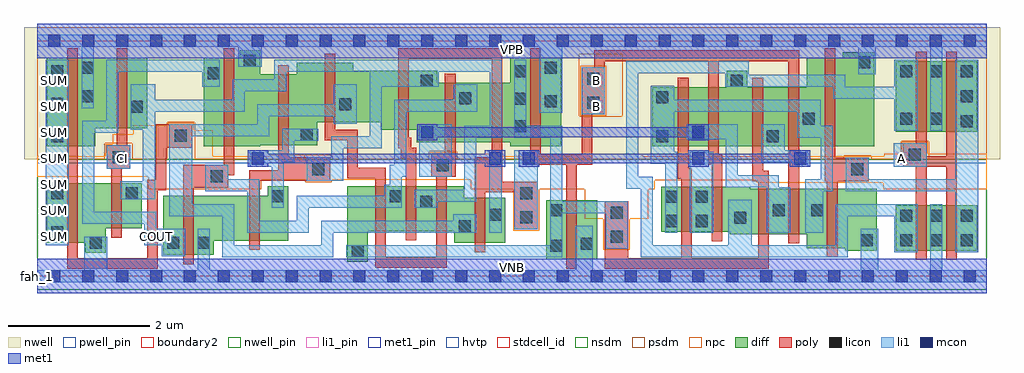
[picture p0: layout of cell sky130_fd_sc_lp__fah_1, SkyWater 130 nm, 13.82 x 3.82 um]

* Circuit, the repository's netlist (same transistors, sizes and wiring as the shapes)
* Copyright 2020 The SkyWater PDK Authors
*
* Licensed under the Apache License, Version 2.0 (the "License");
* you may not use this file except in compliance with the License.
* You may obtain a copy of the License at
*
*     https://www.apache.org/licenses/LICENSE-2.0
*
* Unless required by applicable law or agreed to in writing, software
* distributed under the License is distributed on an "AS IS" BASIS,
* WITHOUT WARRANTIES OR CONDITIONS OF ANY KIND, either express or implied.
* See the License for the specific language governing permissions and
* limitations under the License.
*
* SPDX-License-Identifier: Apache-2.0

.SUBCKT sky130_fd_sc_lp__fah_1 A B CI VGND VNB VPB VPWR COUT SUM
*.PININFO A:I B:I CI:I VGND:I VNB:I VPB:I VPWR:I COUT:O SUM:O
MMIN2 COUT net143 VGND VNB sky130_fd_pr__nfet_01v8 m=1 w=0.84U l=0.15U mult=1 sa=0.265
+ sb=0.265 sd=0.28 area=0.063 perim=1.14
MMIN3 SUM net87 VGND VNB sky130_fd_pr__nfet_01v8 m=1 w=0.84U l=0.15U mult=1 sa=0.265
+ sb=0.265 sd=0.28 area=0.063 perim=1.14
MI6 CIb mid2 net143 VNB sky130_fd_pr__nfet_01v8 m=1 w=0.64U l=0.15U mult=1 sa=0.265
+ sb=0.265 sd=0.28 area=0.063 perim=1.14
MI5 Bb mid1 net143 VNB sky130_fd_pr__nfet_01v8 m=1 w=0.64U l=0.15U mult=1 sa=0.265
+ sb=0.265 sd=0.28 area=0.063 perim=1.14
MI2 CIbb mid2 net87 VNB sky130_fd_pr__nfet_01v8 m=1 w=0.64U l=0.15U mult=1 sa=0.265
+ sb=0.265 sd=0.28 area=0.063 perim=1.14
MI649 CIb mid1 net87 VNB sky130_fd_pr__nfet_01v8 m=1 w=0.64U l=0.15U mult=1 sa=0.265
+ sb=0.265 sd=0.28 area=0.063 perim=1.14
MI17 Bb B VGND VNB sky130_fd_pr__nfet_01v8 m=1 w=0.84U l=0.15U mult=1 sa=0.265
+ sb=0.265 sd=0.28 area=0.063 perim=1.14
MI46 CIbb CIb VGND VNB sky130_fd_pr__nfet_01v8 m=1 w=0.64U l=0.15U mult=1 sa=0.265
+ sb=0.265 sd=0.28 area=0.063 perim=1.14
MI44 CIb CI VGND VNB sky130_fd_pr__nfet_01v8 m=1 w=0.64U l=0.15U mult=1 sa=0.265
+ sb=0.265 sd=0.28 area=0.063 perim=1.14
MI8 Ab2 A VGND VNB sky130_fd_pr__nfet_01v8 m=1 w=0.64U l=0.15U mult=1 sa=0.265
+ sb=0.265 sd=0.28 area=0.063 perim=1.14
MI9 Abb2 Ab2 VGND VNB sky130_fd_pr__nfet_01v8 m=1 w=0.84U l=0.15U mult=1 sa=0.265
+ sb=0.265 sd=0.28 area=0.063 perim=1.14
MI14 Ab1 A VGND VNB sky130_fd_pr__nfet_01v8 m=1 w=0.64U l=0.15U mult=1 sa=0.265
+ sb=0.265 sd=0.28 area=0.063 perim=1.14
MI20 Abb2 B mid1 VNB sky130_fd_pr__nfet_01v8 m=1 w=0.64U l=0.15U mult=1 sa=0.265
+ sb=0.265 sd=0.28 area=0.063 perim=1.14
MI21 Ab1 Bb mid1 VNB sky130_fd_pr__nfet_01v8 m=1 w=0.64U l=0.15U mult=1 sa=0.265
+ sb=0.265 sd=0.28 area=0.063 perim=1.14
MI24 Abb2 Bb mid2 VNB sky130_fd_pr__nfet_01v8 m=1 w=0.64U l=0.15U mult=1 sa=0.265
+ sb=0.265 sd=0.28 area=0.063 perim=1.14
MI25 Ab1 B mid2 VNB sky130_fd_pr__nfet_01v8 m=1 w=0.64U l=0.15U mult=1 sa=0.265
+ sb=0.265 sd=0.28 area=0.063 perim=1.14
MMIP2 COUT net143 VPWR VPB sky130_fd_pr__pfet_01v8_hvt m=1 w=1.26U l=0.15U mult=1
+ sa=0.265 sb=0.265 sd=0.28 area=0.063 perim=1.14
MMIP3 SUM net87 VPWR VPB sky130_fd_pr__pfet_01v8_hvt m=1 w=1.26U l=0.15U mult=1
+ sa=0.265 sb=0.265 sd=0.28 area=0.063 perim=1.14
MI4 CIb mid1 net143 VPB sky130_fd_pr__pfet_01v8_hvt m=1 w=0.84U l=0.15U mult=1
+ sa=0.265 sb=0.265 sd=0.28 area=0.063 perim=1.14
MI3 Bb mid2 net143 VPB sky130_fd_pr__pfet_01v8_hvt m=1 w=0.84U l=0.15U mult=1 sa=0.265
+ sb=0.265 sd=0.28 area=0.063 perim=1.14
MI1 CIbb mid1 net87 VPB sky130_fd_pr__pfet_01v8_hvt m=1 w=0.84U l=0.15U mult=1
+ sa=0.265 sb=0.265 sd=0.28 area=0.063 perim=1.14
MI650 CIb mid2 net87 VPB sky130_fd_pr__pfet_01v8_hvt m=1 w=0.84U l=0.15U mult=1
+ sa=0.265 sb=0.265 sd=0.28 area=0.063 perim=1.14
MI16 Bb B VPWR VPB sky130_fd_pr__pfet_01v8_hvt m=1 w=1.26U l=0.15U mult=1 sa=0.265
+ sb=0.265 sd=0.28 area=0.063 perim=1.14
MI47 CIbb CIb VPWR VPB sky130_fd_pr__pfet_01v8_hvt m=1 w=1.0U l=0.15U mult=1 sa=0.265
+ sb=0.265 sd=0.28 area=0.063 perim=1.14
MI45 CIb CI VPWR VPB sky130_fd_pr__pfet_01v8_hvt m=1 w=1.0U l=0.15U mult=1 sa=0.265
+ sb=0.265 sd=0.28 area=0.063 perim=1.14
MI12 Ab2 A VPWR VPB sky130_fd_pr__pfet_01v8_hvt m=1 w=1.0U l=0.15U mult=1 sa=0.265
+ sb=0.265 sd=0.28 area=0.063 perim=1.14
MI13 Abb2 Ab2 VPWR VPB sky130_fd_pr__pfet_01v8_hvt m=1 w=1.26U l=0.15U mult=1 sa=0.265
+ sb=0.265 sd=0.28 area=0.063 perim=1.14
MI19 Ab1 A VPWR VPB sky130_fd_pr__pfet_01v8_hvt m=1 w=1.0U l=0.15U mult=1 sa=0.265
+ sb=0.265 sd=0.28 area=0.063 perim=1.14
MI22 Abb2 Bb mid1 VPB sky130_fd_pr__pfet_01v8_hvt m=1 w=0.84U l=0.15U mult=1 sa=0.265
+ sb=0.265 sd=0.28 area=0.063 perim=1.14
MI23 Ab1 B mid1 VPB sky130_fd_pr__pfet_01v8_hvt m=1 w=0.84U l=0.15U mult=1 sa=0.265
+ sb=0.265 sd=0.28 area=0.063 perim=1.14
MI26 Abb2 B mid2 VPB sky130_fd_pr__pfet_01v8_hvt m=1 w=0.84U l=0.15U mult=1 sa=0.265
+ sb=0.265 sd=0.28 area=0.063 perim=1.14
MI27 Ab1 Bb mid2 VPB sky130_fd_pr__pfet_01v8_hvt m=1 w=0.84U l=0.15U mult=1 sa=0.265
+ sb=0.265 sd=0.28 area=0.063 perim=1.14
.ENDS sky130_fd_sc_lp__fah_1

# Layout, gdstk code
import gdstk
lib = gdstk.Library(unit=1e-6, precision=1e-09)
def R(c, l, rs):  # rectangles x0, y0, x1, y1
    for r in rs: c.add(gdstk.rectangle(r[:2], r[2:], *l))
def A(c, l, x, y, w, h, nx, ny, dx, dy):  # array of equal rectangles
    R(c, l, [(x+i*dx, y+j*dy, x+i*dx+w, y+j*dy+h) for i in range(nx) for j in range(ny)])
def P(c, l, *ps):  # polygons
    for p in ps: c.add(gdstk.Polygon(p, *l))
nwell_pin = (64, 16)
nwell = (64, 20)
diff = (65, 20)
poly = (66, 20)
licon = (66, 44)
li1_pin = (67, 16)
li1 = (67, 20)
mcon = (67, 44)
met1_pin = (68, 16)
met1 = (68, 20)
hvtp = (78, 44)
stdcell_id = (81, 4)
nsdm = (93, 44)
psdm = (94, 20)
npc = (95, 20)
pwell_pin = (122, 16)
boundary2 = (236, 0)

sky130_fd_sc_lp__fah_1 = lib.new_cell('sky130_fd_sc_lp__fah_1')
R(sky130_fd_sc_lp__fah_1, nwell_pin, [(0,3.085,13.44,3.33)])
R(sky130_fd_sc_lp__fah_1, nwell, [(-0.19,1.655,13.63,3.52)])
R(sky130_fd_sc_lp__fah_1, diff, [(7.205,0.235,7.925,1.075), (12.155,0.36,13.305,1), (12.155,2.045,13.305,3.045)])
P(sky130_fd_sc_lp__fah_1, diff, [(1.48,1.315),(0.135,1.315),(0.135,0.475),(0.68,0.475),(0.68,0.33),(0.97,0.33),(0.97,0.675),(1.48,0.675)],
  [(1.555,3.095),(0.135,3.095),(0.135,1.835),(0.82,1.835),(0.82,2.095),(1.555,2.095)],
  [(3.55,1.275),(3.26,1.275),(3.26,1.14),(1.78,1.14),(1.78,0.3),(2.5,0.3),(2.5,0.5),(3.55,0.5)],
  [(6.625,1.11),(6.045,1.11),(6.045,1.275),(4.39,1.275),(4.39,0.205),(4.675,0.205),(4.675,0.635),(5.905,0.635),(5.905,0.47),(6.625,0.47)],
  [(7.415,3.095),(6.695,3.095),(6.695,2.735),(5.66,2.735),(5.66,2.91),(4.47,2.91),(4.47,3.02),(3.67,3.02),(3.67,2.855),(3.155,2.855),(3.155,3.195),(2.865,3.195),(2.865,3.095),(2.355,3.095),(2.355,1.835),(3.155,1.835),(3.155,1.855),(3.96,1.855),(3.96,2.18),(4.86,2.18),(4.86,2.07),(5.37,2.07),(5.37,1.895),(6.695,1.895),(6.695,1.835),(7.415,1.835)],
  [(11.85,3.17),(11.405,3.17),(11.405,3.095),(10.895,3.095),(10.895,2.675),(10.05,2.675),(10.05,2.91),(9.76,2.91),(9.76,2.675),(8.705,2.675),(8.705,1.835),(11.85,1.835)],
  [(11.885,1.235),(10.095,1.235),(10.095,1.265),(8.83,1.265),(8.83,0.625),(9.805,0.625),(9.805,0.595),(10.895,0.595),(10.895,0.395),(11.44,0.395),(11.44,0.36),(11.885,0.36)])
P(sky130_fd_sc_lp__fah_1, poly, [(1.315,1.85),(1.27,1.85),(1.27,3.225),(1.12,3.225),(1.12,1.85),(0.985,1.85),(0.985,1.52),(1.045,1.52),(1.045,0.545),(1.195,0.545),(1.195,1.52),(1.315,1.52)],
  [(2.195,2.15),(1.675,2.15),(1.675,1.365),(1.555,1.365),(1.555,0.255),(0.57,0.255),(0.57,3.225),(0.42,3.225),(0.42,0.105),(1.705,0.105),(1.705,1.215),(1.825,1.215),(1.825,1.82),(2.195,1.82)],
  [(2.79,3.225),(2.64,3.225),(2.64,1.58),(2.065,1.58),(2.065,0.17),(2.215,0.17),(2.215,1.25),(2.705,1.25),(2.705,1.43),(2.79,1.43)],
  [(4.145,1.68),(3.56,1.68),(3.56,2.985),(3.41,2.985),(3.41,1.5),(3,1.5),(3,0.37),(3.15,0.37),(3.15,1.35),(4.145,1.35)],
  [(5.92,2.865),(5.77,2.865),(5.77,1.735),(5.575,1.735),(5.575,1.405),(5.645,1.405),(5.645,0.265),(4.935,0.265),(4.935,1.535),(4.535,1.535),(4.535,2.07),(4.22,2.07),(4.22,3.15),(4.07,3.15),(4.07,1.92),(4.385,1.92),(4.385,1.385),(4.785,1.385),(4.785,0.115),(5.795,0.115),(5.795,1.405),(5.92,1.405)],
  [(7.085,1.335),(6.585,1.335),(6.585,3.225),(5.11,3.225),(5.11,1.81),(5.145,1.81),(5.145,1.67),(5.215,1.67),(5.215,0.505),(5.365,0.505),(5.365,1.82),(5.295,1.82),(5.295,1.96),(5.26,1.96),(5.26,3.075),(6.435,3.075),(6.435,1.685),(6.19,1.685),(6.19,0.34),(6.34,0.34),(6.34,1.185),(6.755,1.185),(6.755,0.665),(7.085,0.665)],
  [(10.355,1.495),(10.275,1.495),(10.275,2.805),(10.125,2.805),(10.125,1.345),(10.205,1.345),(10.205,0.255),(9.265,0.255),(9.265,1.525),(9.22,1.525),(9.22,2.805),(9.07,2.805),(9.07,1.375),(9.115,1.375),(9.115,0.255),(8.365,0.255),(8.365,1.06),(8.035,1.06),(8.035,0.105),(10.355,0.105)],
  [(10.785,3.195),(7.885,3.195),(7.885,2.96),(7.705,2.96),(7.705,1.725),(7.13,1.725),(7.13,3.225),(6.98,3.225),(6.98,1.575),(7.49,1.575),(7.49,0.105),(7.64,0.105),(7.64,1.575),(7.855,1.575),(7.855,2.29),(8.035,2.29),(8.035,3.045),(9.5,3.045),(9.5,1.575),(9.545,1.575),(9.545,0.495),(9.695,0.495),(9.695,1.725),(9.65,1.725),(9.65,3.045),(10.635,3.045),(10.635,0.465),(10.785,0.465)],
  [(11.775,1.675),(11.295,1.675),(11.295,3.225),(11.145,3.225),(11.145,1.345),(11.18,1.345),(11.18,0.265),(11.33,0.265),(11.33,1.345),(11.775,1.345)],
  [(13.02,3.175),(12.87,3.175),(12.87,1.7),(12.59,1.7),(12.59,3.175),(12.44,3.175),(12.44,1.88),(12.26,1.88),(12.26,1.55),(12.44,1.55),(12.44,0.23),(12.59,0.23),(12.59,1.55),(12.87,1.55),(12.87,0.23),(13.02,0.23)])
A(sky130_fd_sc_lp__fah_1, licon, 12.215, 0.42, 0.17, 0.17, 3, 2, 0.43, 0.35)
A(sky130_fd_sc_lp__fah_1, licon, 0.195, 1.895, 0.17, 0.17, 1, 3, 0, 0.46)
A(sky130_fd_sc_lp__fah_1, licon, 12.215, 2.815, 0.17, 0.17, 3, 1, 0.43, 0)
R(sky130_fd_sc_lp__fah_1, licon, [(4.45,0.265,4.62,0.435), (7.265,0.345,7.435,0.515), (7.695,0.375,7.865,0.545), (0.74,0.39,0.91,0.56), (1.84,0.39,2.01,0.56), (2.27,0.39,2.44,0.56), (11.655,0.42,11.825,0.59), (8.115,0.47,8.285,0.64), (0.195,0.535,0.365,0.705), (5.965,0.62,6.135,0.79), (8.89,0.695,9.06,0.865), (9.32,0.695,9.49,0.865), (9.865,0.74,10.035,0.91), (6.835,0.745,7.005,0.915), (6.395,0.785,6.565,0.955), (8.115,0.81,8.285,0.98), (7.265,0.845,7.435,1.015), (10.41,0.85,10.58,1.02), (10.955,0.85,11.125,1.02), (5.42,0.97,5.59,1.14), (8.89,1.035,9.06,1.205), (9.32,1.035,9.49,1.205), (3.32,1.045,3.49,1.215), (4.99,1.045,5.16,1.215), (0.195,1.085,0.365,1.255), (6.835,1.085,7.005,1.255), (1.25,1.09,1.42,1.26), (2.455,1.33,2.625,1.5), (11.525,1.425,11.695,1.595), (3.895,1.43,4.065,1.6), (5.655,1.485,5.825,1.655), (1.065,1.6,1.235,1.77), (12.34,1.63,12.51,1.8), (8.765,1.895,8.935,2.065), (10.33,1.895,10.5,2.065), (1.945,1.9,2.115,2.07), (3.73,1.915,3.9,2.085), (9.275,1.96,9.445,2.13), (6.755,2.04,6.925,2.21), (13.075,2.105,13.245,2.275), (12.215,2.14,12.385,2.31), (12.645,2.14,12.815,2.31), (10.84,2.145,11.01,2.315), (1.325,2.31,1.495,2.48), (4.275,2.35,4.445,2.52), (7.785,2.37,7.955,2.54), (7.185,2.39,7.355,2.56), (6.755,2.425,6.925,2.595), (5.975,2.435,6.145,2.605), (8.765,2.445,8.935,2.615), (0.625,2.46,0.795,2.63), (13.075,2.46,13.245,2.63), (5.43,2.68,5.6,2.85), (9.82,2.68,9.99,2.85), (7.785,2.71,7.955,2.88), (2.415,2.785,2.585,2.955), (6.755,2.815,6.925,2.985), (0.625,2.865,0.795,3.035), (7.185,2.865,7.355,3.035), (11.62,2.94,11.79,3.11), (2.925,2.965,3.095,3.135)])
A(sky130_fd_sc_lp__fah_1, li1_pin, 0.155, 0.47, 0.17, 0.17, 1, 7, 0, 0.37)
R(sky130_fd_sc_lp__fah_1, li1_pin, [(1.595,0.47,1.765,0.64), (1.115,1.58,1.285,1.75), (12.155,1.58,12.325,1.75), (7.835,2.32,8.005,2.49), (7.835,2.69,8.005,2.86)])
R(sky130_fd_sc_lp__fah_1, li1, [(0.115,0.44,0.445,3.065), (6.395,0.615,6.575,1.78), (9.24,0.615,9.57,1.76), (6.755,0.665,7.085,1.78), (5.405,1.405,5.865,2.15), (0.985,1.52,1.315,1.85), (12.125,1.55,12.59,1.88), (7.705,2.29,8.035,2.96)])
P(sky130_fd_sc_lp__fah_1, li1, [(0.625,2.38),(0.625,3.245),(0,3.245),(0,3.415),(13.44,3.415),(13.44,3.245),(12.815,3.245),(12.815,2.06),(12.645,2.06),(12.645,3.245),(11.87,3.245),(11.87,2.86),(11.62,2.86),(11.62,3.245),(7.435,3.245),(7.435,2.31),(7.105,2.31),(7.105,3.245),(3.175,3.245),(3.175,2.965),(2.845,2.965),(2.845,3.245),(0.795,3.245),(0.795,2.38)],
  [(2.27,0.085),(2.27,0.67),(2.44,0.67),(2.44,0.085),(7.615,0.085),(7.615,0.71),(7.865,0.71),(7.865,0.085),(11.655,0.085),(11.655,0.67),(11.905,0.67),(11.905,0.085),(12.645,0.085),(12.645,1.02),(12.815,1.02),(12.815,0.085),(13.44,0.085),(13.44,-0.085),(0,-0.085),(0,0.085),(0.66,0.085),(0.66,0.56),(0.99,0.56),(0.99,0.085)],
  [(1.515,0.74),(0.635,0.74),(0.635,2.2),(0.975,2.2),(0.975,3.065),(2.585,3.065),(2.585,2.68),(2.335,2.68),(2.335,2.895),(1.145,2.895),(1.145,2.03),(0.805,2.03),(0.805,0.91),(1.685,0.91),(1.685,0.67),(2.09,0.67),(2.09,0.28),(1.76,0.28),(1.76,0.44),(1.515,0.44)],
  [(5.895,2.5),(5.895,2.715),(6.225,2.715),(6.225,2.33),(5.225,2.33),(5.225,1.405),(5.16,1.405),(5.16,0.965),(3.84,0.965),(3.84,0.615),(2.97,0.615),(2.97,1.2),(2.375,1.2),(2.375,1.58),(2.705,1.58),(2.705,1.37),(3.14,1.37),(3.14,0.785),(3.67,0.785),(3.67,1.135),(4.91,1.135),(4.91,1.295),(4.99,1.295),(4.99,1.575),(5.055,1.575),(5.055,2.5)],
  [(6.215,1.055),(5.67,1.055),(5.67,0.965),(5.34,0.965),(5.34,1.225),(6.045,1.225),(6.045,2.13),(6.405,2.13),(6.405,2.895),(5.68,2.895),(5.68,2.68),(4.875,2.68),(4.875,1.81),(4.33,1.81),(4.33,1.35),(3.815,1.35),(3.815,1.68),(4.16,1.68),(4.16,1.98),(4.705,1.98),(4.705,2.895),(3.525,2.895),(3.525,2.615),(2.935,2.615),(2.935,2.33),(1.665,2.33),(1.665,1.09),(1.17,1.09),(1.17,1.34),(1.495,1.34),(1.495,2.075),(1.325,2.075),(1.325,2.715),(1.665,2.715),(1.665,2.5),(2.765,2.5),(2.765,2.785),(3.355,2.785),(3.355,3.065),(6.575,3.065),(6.575,1.96),(6.215,1.96)],
  [(3.98,2.085),(3.98,1.915),(3.635,1.915),(3.635,1.61),(3.49,1.61),(3.49,0.965),(3.32,0.965),(3.32,1.55),(3.005,1.55),(3.005,1.78),(3.465,1.78),(3.465,2.085)],
  [(2.195,1.02),(2.79,1.02),(2.79,0.435),(4.02,0.435),(4.02,0.785),(5.885,0.785),(5.885,0.875),(6.215,0.875),(6.215,0.615),(4.19,0.615),(4.19,0.265),(2.62,0.265),(2.62,0.85),(1.865,0.85),(1.865,2.15),(3.115,2.15),(3.115,2.435),(4.195,2.435),(4.195,2.715),(4.525,2.715),(4.525,2.16),(4.195,2.16),(4.195,2.265),(3.285,2.265),(3.285,1.98),(2.195,1.98)],
  [(9.75,1.26),(9.75,1.94),(9.195,1.94),(9.195,2.15),(9.92,2.15),(9.92,1.43),(10.5,1.43),(10.5,1.255),(10.66,1.255),(10.66,0.615),(10.33,0.615),(10.33,1.26)],
  [(8.685,1.59),(8.685,2.695),(9.015,2.695),(9.015,2.5),(11.09,2.5),(11.09,2.13),(11.265,2.13),(11.265,1.2),(11.125,1.2),(11.125,0.615),(10.875,0.615),(10.875,1.37),(11.095,1.37),(11.095,1.96),(10.76,1.96),(10.76,2.33),(9.015,2.33),(9.015,1.76),(9.06,1.76),(9.06,0.615),(8.89,0.615),(8.89,1.59)],
  [(11.775,1.37),(12.995,1.37),(12.995,3.065),(13.325,3.065),(13.325,0.34),(12.995,0.34),(12.995,1.2),(11.445,1.2),(11.445,1.675),(11.775,1.675)],
  [(12.465,1.02),(12.465,0.34),(12.135,0.34),(12.135,0.85),(11.475,0.85),(11.475,0.265),(8.54,0.265),(8.54,1.24),(8.335,1.24),(8.335,3.045),(10.07,3.045),(10.07,2.85),(11.44,2.85),(11.44,2.68),(12.135,2.68),(12.135,3.065),(12.465,3.065),(12.465,2.06),(12.135,2.06),(12.135,2.51),(11.27,2.51),(11.27,2.68),(9.74,2.68),(9.74,2.875),(8.505,2.875),(8.505,1.41),(8.71,1.41),(8.71,0.435),(9.785,0.435),(9.785,1.08),(10.115,1.08),(10.115,0.435),(11.305,0.435),(11.305,1.02)],
  [(6.925,2.13),(7.435,2.13),(7.435,1.06),(8.36,1.06),(8.36,0.39),(8.045,0.39),(8.045,0.89),(7.435,0.89),(7.435,0.265),(4.37,0.265),(4.37,0.435),(7.265,0.435),(7.265,1.96),(6.755,1.96),(6.755,3.065),(6.925,3.065)],
  [(10.685,1.55),(10.685,1.61),(10.25,1.61),(10.25,2.15),(10.58,2.15),(10.58,1.78),(10.915,1.78),(10.915,1.55)])
A(sky130_fd_sc_lp__fah_1, mcon, 0.155, -0.085, 0.17, 0.17, 28, 2, 0.48, 3.33)
R(sky130_fd_sc_lp__fah_1, mcon, [(3.035,1.58,3.205,1.75), (6.395,1.58,6.565,1.75), (6.875,1.58,7.045,1.75), (9.275,1.58,9.445,1.75), (10.715,1.58,10.885,1.75), (5.435,1.95,5.605,2.12), (9.275,1.95,9.445,2.12)])
R(sky130_fd_sc_lp__fah_1, met1_pin, [(0,0,13.44,0.245), (0,3.085,13.44,3.33)])
R(sky130_fd_sc_lp__fah_1, met1, [(0,-0.245,13.44,0.245), (0,3.085,13.44,3.575)])
P(sky130_fd_sc_lp__fah_1, met1, [(5.665,2.105),(9.215,2.105),(9.215,2.15),(9.505,2.15),(9.505,1.92),(9.215,1.92),(9.215,1.965),(5.665,1.965),(5.665,1.92),(5.375,1.92),(5.375,2.15),(5.665,2.15)],
  [(3.265,1.735),(6.335,1.735),(6.335,1.78),(6.625,1.78),(6.625,1.55),(6.335,1.55),(6.335,1.595),(3.265,1.595),(3.265,1.55),(2.975,1.55),(2.975,1.78),(3.265,1.78)],
  [(6.815,1.55),(6.815,1.78),(7.105,1.78),(7.105,1.735),(9.215,1.735),(9.215,1.78),(9.505,1.78),(9.505,1.735),(10.655,1.735),(10.655,1.78),(10.945,1.78),(10.945,1.55),(10.655,1.55),(10.655,1.595),(9.505,1.595),(9.505,1.55),(9.215,1.55),(9.215,1.595),(7.105,1.595),(7.105,1.55)])
R(sky130_fd_sc_lp__fah_1, hvtp, [(0,1.6,13.44,3.33)])
R(sky130_fd_sc_lp__fah_1, stdcell_id, [(0,0,13.44,3.33)])
R(sky130_fd_sc_lp__fah_1, nsdm, [(0,-0.19,13.44,1.655)])
P(sky130_fd_sc_lp__fah_1, psdm, [(13.44,3.52),(8.28,3.52),(8.28,2.26),(7.675,2.26),(7.675,3.14),(8.28,3.14),(8.28,3.52),(0,3.52),(0,1.655),(0.955,1.655),(0.955,1.88),(1.345,1.88),(1.345,1.655),(1.835,1.655),(1.835,2.18),(2.225,2.18),(2.225,1.655),(3.785,1.655),(3.785,1.71),(4.175,1.71),(4.175,1.655),(5.545,1.655),(5.545,1.765),(5.935,1.765),(5.935,1.655),(11.415,1.655),(11.415,1.705),(11.805,1.705),(11.805,1.655),(12.23,1.655),(12.23,1.91),(12.62,1.91),(12.62,1.655),(13.44,1.655)])
R(sky130_fd_sc_lp__fah_1, npc, [(7.685,2.27,8.055,2.98)])
P(sky130_fd_sc_lp__fah_1, npc, [(13.44,1.73),(12.61,1.73),(12.61,1.9),(12.24,1.9),(12.24,1.73),(11.99,1.73),(11.99,1.695),(8.565,1.695),(8.565,1.73),(7.555,1.73),(7.555,1.695),(6.555,1.695),(6.555,1.73),(5.925,1.73),(5.925,1.755),(5.555,1.755),(5.555,1.73),(4.1,1.73),(4.1,1.715),(3.295,1.715),(3.295,1.695),(2.48,1.695),(2.48,2.065),(2.215,2.065),(2.215,2.17),(1.845,2.17),(1.845,2.135),(1.36,2.135),(1.36,2.005),(1.07,2.005),(1.07,1.87),(0.965,1.87),(0.965,1.73),(0.96,1.73),(0.96,1.695),(0,1.695),(0,1.405),(1.57,1.405),(1.57,1.23),(3.17,1.23),(3.17,1.365),(3.795,1.365),(3.795,1.33),(4.165,1.33),(4.165,1.365),(6.135,1.365),(6.135,1.23),(6.735,1.23),(6.735,0.645),(7.105,0.645),(7.105,1.23),(7.75,1.23),(7.75,0.815),(8.015,0.815),(8.015,0.37),(8.385,0.37),(8.385,0.815),(8.65,0.815),(8.65,1.23),(8.74,1.23),(8.74,1.355),(10.185,1.355),(10.185,1.325),(11.975,1.325),(11.975,1.23),(13.44,1.23)])
R(sky130_fd_sc_lp__fah_1, pwell_pin, [(0,0,13.44,0.245)])
R(sky130_fd_sc_lp__fah_1, boundary2, [(0,0,13.44,3.33)])
sky130_fd_sc_lp__fah_1.add(gdstk.Label('VNB', (6.72,0.123), layer=64, texttype=59))
sky130_fd_sc_lp__fah_1.add(gdstk.Label('VPB', (6.72,3.208), layer=64, texttype=5))
sky130_fd_sc_lp__fah_1.add(gdstk.Label('fah_1', (0,0), layer=83, texttype=44))
sky130_fd_sc_lp__fah_1.add(gdstk.Label('VPWR', (6.72,3.208), layer=68, texttype=5))
sky130_fd_sc_lp__fah_1.add(gdstk.Label('VGND', (6.72,0.123), layer=68, texttype=5))
sky130_fd_sc_lp__fah_1.add(gdstk.Label('SUM', (0.24,0.555), layer=67, texttype=5))
sky130_fd_sc_lp__fah_1.add(gdstk.Label('SUM', (0.24,0.925), layer=67, texttype=5))
sky130_fd_sc_lp__fah_1.add(gdstk.Label('SUM', (0.24,1.295), layer=67, texttype=5))
sky130_fd_sc_lp__fah_1.add(gdstk.Label('SUM', (0.24,1.665), layer=67, texttype=5))
sky130_fd_sc_lp__fah_1.add(gdstk.Label('SUM', (0.24,2.035), layer=67, texttype=5))
sky130_fd_sc_lp__fah_1.add(gdstk.Label('SUM', (0.24,2.405), layer=67, texttype=5))
sky130_fd_sc_lp__fah_1.add(gdstk.Label('SUM', (0.24,2.775), layer=67, texttype=5))
sky130_fd_sc_lp__fah_1.add(gdstk.Label('COUT', (1.68,0.555), layer=67, texttype=5))
sky130_fd_sc_lp__fah_1.add(gdstk.Label('CI', (1.2,1.665), layer=67, texttype=5))
sky130_fd_sc_lp__fah_1.add(gdstk.Label('A', (12.24,1.665), layer=67, texttype=5))
sky130_fd_sc_lp__fah_1.add(gdstk.Label('B', (7.92,2.405), layer=67, texttype=5))
sky130_fd_sc_lp__fah_1.add(gdstk.Label('B', (7.92,2.775), layer=67, texttype=5))

lib.write_gds('sky130_fd_sc_lp__fah_1.gds')
